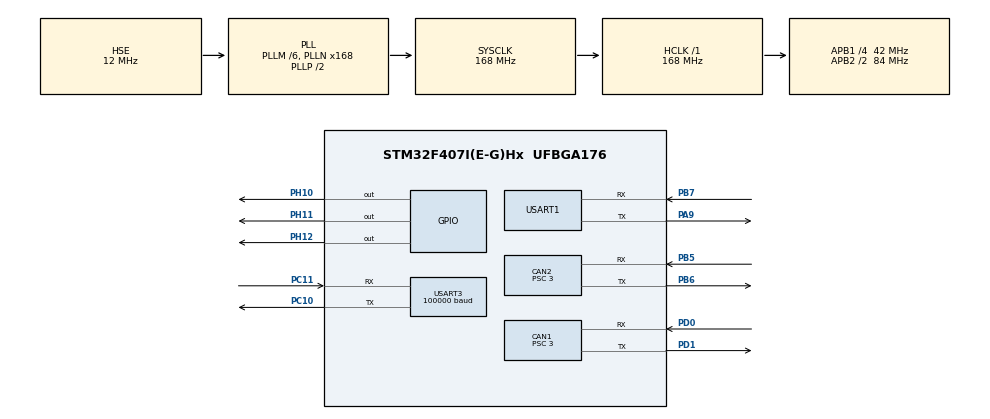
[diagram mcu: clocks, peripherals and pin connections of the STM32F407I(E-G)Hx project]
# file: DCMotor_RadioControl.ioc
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CAN1.BS1=CAN_BS1_10TQ
CAN1.BS2=CAN_BS2_3TQ
CAN1.CalculateTimeQuantum=71.42857142857143
CAN1.Prescaler=3
CAN2.BS1=CAN_BS1_10TQ
CAN2.BS2=CAN_BS2_3TQ
CAN2.CalculateTimeQuantum=71.42857142857143
CAN2.Prescaler=3
Dma.Request0=USART1_TX
Dma.Request1=USART3_RX
Dma.USART1_TX.0.Direction=DMA_MEMORY_TO_PERIPH
Dma.USART1_TX.0.FIFOMode=DMA_FIFOMODE_DISABLE
Dma.USART1_TX.0.Instance=DMA2_Stream7
Dma.USART1_TX.0.MemDataAlignment=DMA_MDATAALIGN_BYTE
Dma.USART1_TX.0.MemInc=DMA_MINC_ENABLE
Dma.USART1_TX.0.Mode=DMA_NORMAL
Dma.USART1_TX.0.PeriphDataAlignment=DMA_PDATAALIGN_BYTE
Dma.USART1_TX.0.PeriphInc=DMA_PINC_DISABLE
Dma.USART1_TX.0.Priority=DMA_PRIORITY_VERY_HIGH
Dma.USART3_RX.1.Direction=DMA_PERIPH_TO_MEMORY
Dma.USART3_RX.1.FIFOMode=DMA_FIFOMODE_DISABLE
Dma.USART3_RX.1.Instance=DMA1_Stream1
Dma.USART3_RX.1.MemDataAlignment=DMA_MDATAALIGN_BYTE
Dma.USART3_RX.1.MemInc=DMA_MINC_ENABLE
Dma.USART3_RX.1.Mode=DMA_CIRCULAR
Dma.USART3_RX.1.PeriphDataAlignment=DMA_PDATAALIGN_BYTE
Dma.USART3_RX.1.PeriphInc=DMA_PINC_DISABLE
Dma.USART3_RX.1.Priority=DMA_PRIORITY_VERY_HIGH
Mcu.Family=STM32F4
Mcu.Name=STM32F407I(E-G)Hx
Mcu.Package=UFBGA176
NVIC.CAN1_RX0_IRQn=true\:0\:0\:false\:false\:true\:true\:true
NVIC.CAN2_RX0_IRQn=true\:0\:0\:false\:false\:true\:true\:true
NVIC.DMA1_Stream1_IRQn=true\:0\:0\:false\:false\:true\:false\:true
NVIC.DMA2_Stream7_IRQn=true\:0\:0\:false\:false\:true\:false\:true
NVIC.PriorityGroup=NVIC_PRIORITYGROUP_4
NVIC.USART1_IRQn=true\:0\:0\:false\:false\:true\:true\:true
NVIC.USART3_IRQn=true\:0\:0\:false\:false\:true\:true\:true
PA13.Mode=Serial_Wire
PA13.Signal=SYS_JTMS-SWDIO
PA14.Mode=Serial_Wire
PA14.Signal=SYS_JTCK-SWCLK
PA9.Mode=Asynchronous
PA9.Signal=USART1_TX
PB5.Mode=Slave
PB5.Signal=CAN2_RX
PB6.Mode=Slave
PB6.Signal=CAN2_TX
PB7.Mode=Asynchronous
PB7.Signal=USART1_RX
PC10.Mode=Asynchronous
PC10.Signal=USART3_TX
PC11.Mode=Asynchronous
PC11.Signal=USART3_RX
PD0.Mode=Master
PD0.Signal=CAN1_RX
PD1.Mode=Master
PD1.Signal=CAN1_TX
PH0-OSC_IN.Mode=HSE-External-Oscillator
PH0-OSC_IN.Signal=RCC_OSC_IN
PH1-OSC_OUT.Mode=HSE-External-Oscillator
PH1-OSC_OUT.Signal=RCC_OSC_OUT
PH10.Signal=GPIO_Output
PH11.Signal=GPIO_Output
PH12.Signal=GPIO_Output
ProjectManager.HeapSize=0x200
ProjectManager.StackSize=0x400
ProjectManager.TargetToolchain=MDK-ARM V5
RCC.48MHZClocksFreq_Value=84000000
RCC.AHBFreq_Value=168000000
RCC.APB1CLKDivider=RCC_HCLK_DIV4
RCC.APB1Freq_Value=42000000
RCC.APB1TimFreq_Value=84000000
RCC.APB2CLKDivider=RCC_HCLK_DIV2
RCC.APB2Freq_Value=84000000
RCC.APB2TimFreq_Value=168000000
RCC.CortexFreq_Value=168000000
RCC.HCLKFreq_Value=168000000
RCC.HSE_VALUE=12000000
RCC.HSI_VALUE=16000000
RCC.LSE_VALUE=32768
RCC.PLLM=6
RCC.PLLN=168
RCC.PLLSourceVirtual=RCC_PLLSOURCE_HSE
RCC.SYSCLKFreq_VALUE=168000000
RCC.SYSCLKSource=RCC_SYSCLKSOURCE_PLLCLK
RCC.VCOOutputFreq_Value=336000000
USART1.VirtualMode=VM_ASYNC
USART3.BaudRate=100000
USART3.Parity=PARITY_EVEN
USART3.VirtualMode=VM_ASYNC
board=custom

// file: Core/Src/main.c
/* USER CODE BEGIN Header */
/**
  ******************************************************************************
  * @file           : main.c
  * @brief          : Main program body
  ******************************************************************************
  * @attention
  *
  * <h2><center>&copy; Copyright (c) 2020 STMicroelectronics.
  * All rights reserved.</center></h2>
  *
  * This software component is licensed by ST under BSD 3-Clause license,
  * the "License"; You may not use this file except in compliance with the
  * License. You may obtain a copy of the License at:
  *                        opensource.org/licenses/BSD-3-Clause
  *
  ******************************************************************************
  */
/* USER CODE END Header */
#include "main.h"
#include "can.h"
#include "dma.h"
#include "usart.h"
#include "gpio.h"

/* USER CODE BEGIN Includes */

#include "bsp_can.h"
#include "CAN_receive.h"
#include "CAN_RotateAngle.h"

#include "remote_control.h"
#include "bsp_usart.h"
#include <stdio.h>
#include <stdarg.h>
#include "string.h"
/* USER CODE END Includes */

void SystemClock_Config(void);

/* USER CODE BEGIN 0 */
const RC_ctrl_t *local_rc_ctrl;

// void usart_printf(const char *fmt,...)
//{
//    static uint8_t tx_buf[256] = {0};
//    static va_list ap;
//    static uint16_t len;
//    va_start(ap, fmt);

//    //return length of string
//    //返回字符串长度
//    len = vsprintf((char *)tx_buf, fmt, ap);

//    va_end(ap);

//    usart1_tx_dma_enable(tx_buf, len);

//}

/* USER CODE END 0 */

int main(void)
{

  /* MCU Configuration--------------------------------------------------------*/

  /* Reset of all peripherals, Initializes the Flash interface and the Systick. */
  HAL_Init();

  /* Configure the system clock */
  SystemClock_Config();

  /* Initialize all configured peripherals */
  MX_GPIO_Init();
  MX_DMA_Init();
  MX_CAN1_Init();
  MX_CAN2_Init();
  MX_USART1_UART_Init();
  MX_USART3_UART_Init();
  /* USER CODE BEGIN 2 */
  remote_control_init();
  usart1_tx_dma_init();
  local_rc_ctrl = get_remote_control_point();

	can_filter_init();
	HAL_CAN_RxFifo0MsgPendingCallback(&hcan2);

	HAL_GPIO_WritePin(GPIOH, GPIO_PIN_12|GPIO_PIN_11, GPIO_PIN_SET);
	HAL_Delay(1000);
	HAL_GPIO_WritePin(GPIOH, GPIO_PIN_12|GPIO_PIN_11, GPIO_PIN_RESET);
	HAL_Delay(1000);

  /* USER CODE END 2 */

  /* Infinite loop */
	while (1)
  {
    /* USER CODE END WHILE */

    /* USER CODE BEGIN 3 */

//		usart_printf(
//"**********\r\n\
//ch0:%d\r\n\
//ch1:%d\r\n\
//ch2:%d\r\n\
//ch3:%d\r\n\
//ch4:%d\r\n\
//s1:%d\r\n\
//s2:%d\r\n\
//**********\r\n",
//            local_rc_ctrl->rc.ch[0], local_rc_ctrl->rc.ch[1], local_rc_ctrl->rc.ch[2], local_rc_ctrl->rc.ch[3],local_rc_ctrl->rc.ch[4],
//            local_rc_ctrl->rc.s[0], local_rc_ctrl->rc.s[1]
//            );

				CAN_cmd_gimbal(0,local_rc_ctrl->rc.ch[0]*15,0,0);
        HAL_Delay(2);

  }
  /* USER CODE BEGIN WHILE */

//	gimbal_RotateAngle(1,2048,1,1);
    /* USER CODE END WHILE */

    /* USER CODE BEGIN 3 */

  /* USER CODE END 3 */
}

void SystemClock_Config(void)
{
  RCC_OscInitTypeDef RCC_OscInitStruct = {0};
  RCC_ClkInitTypeDef RCC_ClkInitStruct = {0};

  /** Configure the main internal regulator output voltage
  */
  __HAL_RCC_PWR_CLK_ENABLE();
  __HAL_PWR_VOLTAGESCALING_CONFIG(PWR_REGULATOR_VOLTAGE_SCALE1);
  /** Initializes the RCC Oscillators according to the specified parameters
  * in the RCC_OscInitTypeDef structure.
  */
  RCC_OscInitStruct.OscillatorType = RCC_OSCILLATORTYPE_HSE;
  RCC_OscInitStruct.HSEState = RCC_HSE_ON;
  RCC_OscInitStruct.PLL.PLLState = RCC_PLL_ON;
  RCC_OscInitStruct.PLL.PLLSource = RCC_PLLSOURCE_HSE;
  RCC_OscInitStruct.PLL.PLLM = 6;
  RCC_OscInitStruct.PLL.PLLN = 168;
  RCC_OscInitStruct.PLL.PLLP = RCC_PLLP_DIV2;
  RCC_OscInitStruct.PLL.PLLQ = 4;
  if (HAL_RCC_OscConfig(&RCC_OscInitStruct) != HAL_OK)
  {
    Error_Handler();
  }
  /** Initializes the CPU, AHB and APB buses clocks
  */
  RCC_ClkInitStruct.ClockType = RCC_CLOCKTYPE_HCLK|RCC_CLOCKTYPE_SYSCLK
                              |RCC_CLOCKTYPE_PCLK1|RCC_CLOCKTYPE_PCLK2;
  RCC_ClkInitStruct.SYSCLKSource = RCC_SYSCLKSOURCE_PLLCLK;
  RCC_ClkInitStruct.AHBCLKDivider = RCC_SYSCLK_DIV1;
  RCC_ClkInitStruct.APB1CLKDivider = RCC_HCLK_DIV4;
  RCC_ClkInitStruct.APB2CLKDivider = RCC_HCLK_DIV2;

  if (HAL_RCC_ClockConfig(&RCC_ClkInitStruct, FLASH_LATENCY_5) != HAL_OK)
  {
    Error_Handler();
  }
}

void Error_Handler(void)
{
}

/************************ (C) COPYRIGHT STMicroelectronics *****END OF FILE****/
